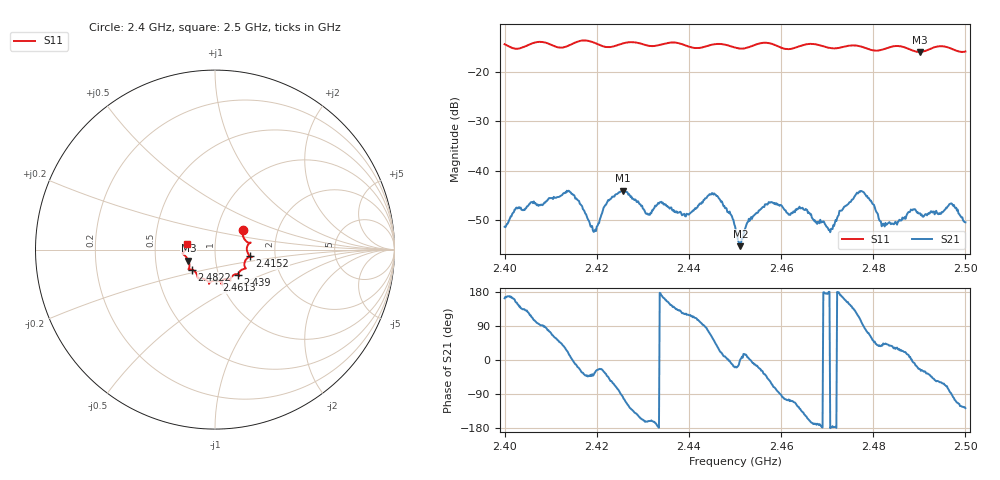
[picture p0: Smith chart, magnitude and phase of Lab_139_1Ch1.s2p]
# Hz S RI R 50
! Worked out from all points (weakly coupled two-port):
!   601 points, 2.4 GHz to 2.5 GHz, reference 50 ohm
!   highest |S21| = -44.02 dB at 2.4257 GHz (marker M1); lowest = -55.3 dB at 2.4512 GHz (marker M2)
!   lowest |S11| = -15.9 dB at 2.4902 GHz (marker M3), VSWR 1.38, Z = 36.9 - j4.6 ohm
!   |S11| at or under -10 dB: start of sweep to end of sweep
!   S12 and S22 are empty: the file has one direction only
!   S11 on the Smith chart (normalised r, x): 2.4 GHz: 1.33, +0.31; 2.4152 GHz: 1.48, -0.11; 2.439 GHz: 1.24, -0.36; 2.4613 GHz: 0.96, -0.34; 2.4822 GHz: 0.76, -0.17; 2.5 GHz: 0.72, +0.05
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2.4e9  0.1563 0.1114  -0.00259 0.000793  0 0  0 0
2.402667e9  0.1591 0.0673  -0.00371 0.00205  0 0  0 0
2.415167e9  0.1948 -0.0362  0.00553 -0.000743  0 0  0 0
2.416667e9  0.2043 -0.042  0.00379 -0.00236  0 0  0 0
2.419667e9  0.1929 -0.0406  0.00214 -0.00134  0 0  0 0
2.425667e9  0.1679 -0.1002  -0.000825 -0.00624  0 0  0 0
2.431e9  0.1479 -0.1129  -0.00351 -0.0011  0 0  0 0
2.433333e9  0.1326 -0.1324  -0.00471 -0.000277  0 0  0 0
2.439e9  0.1278 -0.1388  -0.00189 0.00313  0 0  0 0
2.445333e9  0.0844 -0.1715  0.00341 0.00462  0 0  0 0
2.45e9  0.0691 -0.1636  0.00259 -0.000917  0 0  0 0
2.451167e9  0.0553 -0.1642  0.00172 5.46e-05  0 0  0 0
2.457e9  0.0401 -0.1941  0.00306 -0.00334  0 0  0 0
2.461333e9  0.00795 -0.1709  -0.00103 -0.00359  0 0  0 0
2.466667e9  -0.0332 -0.1905  -0.00326 -0.000833  0 0  0 0
2.470667e9  -0.0499 -0.1683  -0.00238 -4.15e-06  0 0  0 0
2.4775e9  -0.0964 -0.1533  -0.000913 0.00615  0 0  0 0
2.482167e9  -0.1285 -0.1117  0.0021 0.00201  0 0  0 0
2.483333e9  -0.1397 -0.11  0.00228 0.00189  0 0  0 0
2.490167e9  -0.1482 -0.0608  0.00337 -0.00154  0 0  0 0
2.497e9  -0.1724 -0.0111  -5.15e-05 -0.00466  0 0  0 0
2.5e9  -0.1585 0.0337  -0.0018 -0.0024  0 0  0 0
